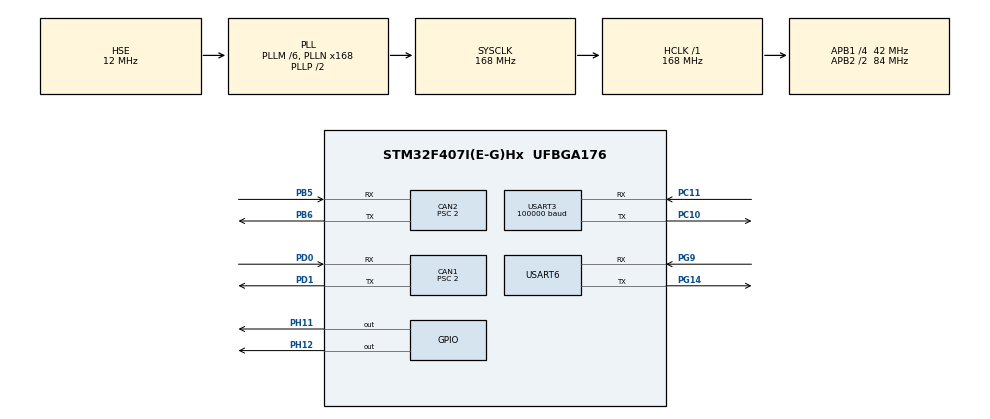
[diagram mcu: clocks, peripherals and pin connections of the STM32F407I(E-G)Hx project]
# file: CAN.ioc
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CAN1.BS1=CAN_BS1_16TQ
CAN1.BS2=CAN_BS2_4TQ
CAN1.CalculateBaudRate=1000000
CAN1.CalculateTimeBit=1000
CAN1.CalculateTimeQuantum=47.61904761904762
CAN1.NART=ENABLE
CAN1.Prescaler=2
CAN1.TXFP=ENABLE
CAN2.BS1=CAN_BS1_16TQ
CAN2.BS2=CAN_BS2_4TQ
CAN2.CalculateBaudRate=1000000
CAN2.CalculateTimeBit=1000
CAN2.CalculateTimeQuantum=47.61904761904762
CAN2.Prescaler=2
Dma.Request0=USART3_RX
Dma.Request1=USART6_RX
Dma.Request2=USART6_TX
Dma.USART3_RX.0.Direction=DMA_PERIPH_TO_MEMORY
Dma.USART3_RX.0.FIFOMode=DMA_FIFOMODE_DISABLE
Dma.USART3_RX.0.Instance=DMA1_Stream1
Dma.USART3_RX.0.MemDataAlignment=DMA_MDATAALIGN_BYTE
Dma.USART3_RX.0.MemInc=DMA_MINC_ENABLE
Dma.USART3_RX.0.Mode=DMA_CIRCULAR
Dma.USART3_RX.0.PeriphDataAlignment=DMA_PDATAALIGN_BYTE
Dma.USART3_RX.0.PeriphInc=DMA_PINC_DISABLE
Dma.USART3_RX.0.Priority=DMA_PRIORITY_VERY_HIGH
Dma.USART6_RX.1.Direction=DMA_PERIPH_TO_MEMORY
Dma.USART6_RX.1.FIFOMode=DMA_FIFOMODE_DISABLE
Dma.USART6_RX.1.Instance=DMA2_Stream1
Dma.USART6_RX.1.MemDataAlignment=DMA_MDATAALIGN_BYTE
Dma.USART6_RX.1.MemInc=DMA_MINC_ENABLE
Dma.USART6_RX.1.Mode=DMA_NORMAL
Dma.USART6_RX.1.PeriphDataAlignment=DMA_PDATAALIGN_BYTE
Dma.USART6_RX.1.PeriphInc=DMA_PINC_DISABLE
Dma.USART6_RX.1.Priority=DMA_PRIORITY_LOW
Dma.USART6_TX.2.Direction=DMA_MEMORY_TO_PERIPH
Dma.USART6_TX.2.FIFOMode=DMA_FIFOMODE_DISABLE
Dma.USART6_TX.2.Instance=DMA2_Stream6
Dma.USART6_TX.2.MemDataAlignment=DMA_MDATAALIGN_BYTE
Dma.USART6_TX.2.MemInc=DMA_MINC_ENABLE
Dma.USART6_TX.2.Mode=DMA_NORMAL
Dma.USART6_TX.2.PeriphDataAlignment=DMA_PDATAALIGN_BYTE
Dma.USART6_TX.2.PeriphInc=DMA_PINC_DISABLE
Dma.USART6_TX.2.Priority=DMA_PRIORITY_LOW
Mcu.Family=STM32F4
Mcu.Name=STM32F407I(E-G)Hx
Mcu.Package=UFBGA176
NVIC.CAN1_RX0_IRQn=true\:0\:0\:false\:false\:true\:true\:true\:true
NVIC.CAN2_RX0_IRQn=true\:0\:0\:false\:false\:true\:true\:true\:true
NVIC.DMA1_Stream1_IRQn=true\:0\:0\:false\:false\:true\:false\:true\:true
NVIC.DMA2_Stream1_IRQn=true\:0\:0\:false\:false\:true\:false\:true\:true
NVIC.DMA2_Stream6_IRQn=true\:0\:0\:false\:false\:true\:false\:true\:true
NVIC.PriorityGroup=NVIC_PRIORITYGROUP_4
NVIC.USART3_IRQn=true\:0\:0\:false\:false\:true\:true\:true\:true
PA13.Mode=Serial_Wire
PA13.Signal=SYS_JTMS-SWDIO
PA14.Mode=Serial_Wire
PA14.Signal=SYS_JTCK-SWCLK
PB5.Mode=CAN_Activate
PB5.Signal=CAN2_RX
PB6.Mode=CAN_Activate
PB6.Signal=CAN2_TX
PC10.Mode=Asynchronous
PC10.Signal=USART3_TX
PC11.Mode=Asynchronous
PC11.Signal=USART3_RX
PD0.Mode=CAN_Activate
PD0.Signal=CAN1_RX
PD1.Mode=CAN_Activate
PD1.Signal=CAN1_TX
PG14.Mode=Asynchronous
PG14.Signal=USART6_TX
PG9.Mode=Asynchronous
PG9.Signal=USART6_RX
PH0-OSC_IN.Mode=HSE-External-Oscillator
PH0-OSC_IN.Signal=RCC_OSC_IN
PH1-OSC_OUT.Mode=HSE-External-Oscillator
PH1-OSC_OUT.Signal=RCC_OSC_OUT
PH11.GPIO_ModeDefaultOutputPP=GPIO_MODE_OUTPUT_PP
PH11.GPIO_PuPd=GPIO_NOPULL
PH11.GPIO_Speed=GPIO_SPEED_FREQ_LOW
PH11.PinState=GPIO_PIN_RESET
PH11.Signal=GPIO_Output
PH12.GPIO_ModeDefaultOutputPP=GPIO_MODE_OUTPUT_PP
PH12.GPIO_PuPd=GPIO_NOPULL
PH12.GPIO_Speed=GPIO_SPEED_FREQ_LOW
PH12.PinState=GPIO_PIN_RESET
PH12.Signal=GPIO_Output
ProjectManager.HeapSize=0x200
ProjectManager.StackSize=0x400
ProjectManager.TargetToolchain=MDK-ARM V5.32
RCC.48MHZClocksFreq_Value=84000000
RCC.AHBFreq_Value=168000000
RCC.APB1CLKDivider=RCC_HCLK_DIV4
RCC.APB1Freq_Value=42000000
RCC.APB1TimFreq_Value=84000000
RCC.APB2CLKDivider=RCC_HCLK_DIV2
RCC.APB2Freq_Value=84000000
RCC.APB2TimFreq_Value=168000000
RCC.CortexFreq_Value=168000000
RCC.HCLKFreq_Value=168000000
RCC.HSE_VALUE=12000000
RCC.HSI_VALUE=16000000
RCC.LSE_VALUE=32768
RCC.PLLM=6
RCC.PLLN=168
RCC.PLLSourceVirtual=RCC_PLLSOURCE_HSE
RCC.SYSCLKFreq_VALUE=168000000
RCC.SYSCLKSource=RCC_SYSCLKSOURCE_PLLCLK
RCC.VCOOutputFreq_Value=336000000
USART3.BaudRate=100000
USART3.Parity=PARITY_EVEN
USART3.VirtualMode=VM_ASYNC
USART6.VirtualMode=VM_ASYNC
board=custom

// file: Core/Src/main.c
/* USER CODE BEGIN Header */
/**
  ******************************************************************************
  * @file           : main.c
  * @brief          : Main program body
  ******************************************************************************
  * @attention
  *
  * Copyright (c) 2026 STMicroelectronics.
  * All rights reserved.
  *
  * This software is licensed under terms that can be found in the LICENSE file
  * in the root directory of this software component.
  * If no LICENSE file comes with this software, it is provided AS-IS.
  *
  ******************************************************************************
  */
/* USER CODE END Header */
#include "main.h"
#include "can.h"
#include "dma.h"
#include "usart.h"
#include "gpio.h"

/* USER CODE BEGIN Includes */
#include "bsp_can.h"
#include "CAN_receive.h"
#include "remote_control.h"
#include "bsp_rc.h"
/* 转速环 PID（官方文件，未改动） */
#include "pid.h"
/* sinf()，正弦波流用 */
#include <math.h>
/* USER CODE END Includes */

/* USER CODE BEGIN PD */
/* 摇杆减掉 1024 后的行程，约 ±660 */
#define RC_CH_VALUE_RANGE       660
/* 回中零点漂移，此范围内一律当 0 */
#define RC_DEAD_ZONE            20
/* 开环电流上限（仅 USE_SPEED_PID=0 时使用）。
   16384 对应 C620 满量程 20A，1000 约 1.2A。 */
#define CHASSIS_CURRENT_MAX     1000
/* 底盘四个轮子：下标 0~3 对应 C620 ID1~4 / 反馈帧 0x201~0x204。
   M1=左上FL，M2=左下RL，M3=右上FR，M4=右下RR（麦轮全向底盘）。 */
#define MOTOR_NUM               4
/* 驱动用的三个遥控通道（按本机实测的 DBUS 通道号）：
   左摇杆上下 = 前进/后退（推上为正）
   左摇杆左右 = 左移/右移（推左为正）
   右摇杆左右 = 原地旋转（推右为顺时针）
   注：本机实测 ch2 是左右、ch3 是上下，与常见的 ch2=上下 相反。 */
#define RC_MOTOR_CH_VERT        3
#define RC_MOTOR_CH_HORZ        2
#define RC_MOTOR_CH_ROT         0
/* 板载指示灯 PH11：上电后亮 RUN_LED_ON_MS，然后灭（程序已启动的标志）。
   gpio.c 已配成推挽输出。 */
#define RUN_LED_PORT            GPIOH
#define RUN_LED_PIN             GPIO_PIN_11
#define RUN_LED_ON_MS           8000
/* 遥控静默超时。DBUS 约 14ms 一帧，100ms 约漏 7 帧 */
#define RC_SIGNAL_TIMEOUT_MS    100
/* 单路电机反馈超时。C620 反馈约 1kHz，100ms 很宽松。
   与遥控超时分开：两个独立故障域，调整一个不应影响另一个。 */
#define MOTOR_FEEDBACK_TIMEOUT_MS 100
/* UART6 调试输出（PG14=TX, PG9=RX, 115200 8N1）。发送字符：
     '1' 正弦波流        '2' 停
     '3' 左摇杆流        '4' 停
     '5' 转速环曲线流，8 列：M1~M4 目标转速、M1~M4 实测转速（rpm）
   ASCII 十进制、逗号分列（SerialPlot 格式），同一时刻只跑一条流。 */
#define UART6_STREAM_OFF        0
#define UART6_STREAM_SINE       1
#define UART6_STREAM_STICK      2
#define UART6_STREAM_PID        3

/* --- 正弦波流 ('1') --- */
#define SINE_PERIOD_MS          400      /* 一个周期 400ms = 2.5Hz */
#define SINE_AMPLITUDE          2047     /* 相对中点的最大偏移 */
#define SINE_MID                2048     /* 中点（0~4095 的中心） */
#define SINE_PI                 3.14159265f

/* --- 摇杆流 ('3') --- */
/* 输出左摇杆两个轴，通道号与上面的驱动映射保持一致
   （本机：3=上下，2=左右；右摇杆是 1/0） */
#define RC_STICK_CH_VERT        3
#define RC_STICK_CH_HORZ        2
/* 满行程对应的千分比读数。上下用满幅，左右用半幅让两条曲线视觉等高。
   这是连续量，不能用 uart6_send_int()（会被压成 -1/0/+1）。 */
#define RC_STICK_VERT_MILLI     1000
#define RC_STICK_HORZ_MILLI     500

/* --- 转速环 PID ---
   摇杆 -> 三自由度 -> 麦轮逆运动学 -> 每轮目标转速 -> 四路 PID -> 电流。
   控制环跑在 SysTick 的 1kHz 中断里（motor_control_1khz）。 */

/* 回退开关：置 0 退回开环（摇杆直接给电流），仍走同一套麦轮运动学 */
#define USE_SPEED_PID           1

/* 摇杆推到底的目标转速(rpm)。C620 反馈的是转子转速，3508 空载约 9000，
   取 3000 留余量。首次上电建议先改成 1000。 */
#define SPEED_TARGET_MAX_RPM    3000

/* --- 麦轮全向运动 ---
   前后、左右、斜向都由逆运动学合成到四轮目标转速。 */
/* 置 0 关闭旋转，只剩平移 */
#define CHASSIS_ROTATE_ENABLE   1
/* 旋转满杆的差速幅值(rpm)，取线速度的一半 */
#define SPEED_ROTATE_MAX_RPM    (SPEED_TARGET_MAX_RPM / 2)
/* 滚子朝向。标准 X 形填 1；实测横移/旋转反向就把对应项改成 -1。
   前后方向不受这两个宏影响，滚子装法只能实测确认。 */
#define MECANUM_STRAFE_SIGN     1
#define MECANUM_ROTATE_SIGN     1

/* PID 参数，参考学长的整定值（Kp=3.5 / Ki=0.01 / Kd=0）。
   注意 pid.c 的积分是 Iout += Ki*error，没有 dt，Ki 与 1kHz 调用周期绑定，
   换到别的调用频率这组数要重新算。 */
#define SPEED_PID_KP            3.5f
#define SPEED_PID_KI            0.01f
#define SPEED_PID_KD            0.0f

/* C620 电调保护：最终输出电流硬限幅 16A。
   C620 官方只标「最大持续电流 20A」，没有单独的峰值指标，16A 留 20% 余量。
   CAN 电流指令 ±16384 线性对应 ±20A，16A = 16384 × 16 / 20 = 13107。
   这一层保护的是电调：不管 PID 或开环算出多少，越不过去。 */
#define C620_CURRENT_MAX_16A    13107

/* M3508 电机保护：PID 输出上限，真正决定电机电流的是这里。
   M3508 P19 额定电流 10A（16384 = 20A → 10A = 8192），额定扭矩 3N·m。
   室内调车取 3000 ≈ 3.7A，约额定的 37%，四轮合计约 14.6A；
   推十公斤级的麦轮车够用，电机和电调都不会烫。
   要提速按 3000 → 6000(≈7.3A) → 8192(10A，额定上限) 往上加。 */
#define SPEED_PID_MAX_OUT_CNT   3000
#define SPEED_PID_MAX_OUT       ((fp32)SPEED_PID_MAX_OUT_CNT)

/* 积分项上限与输出上限同值，积分不能单独堆到超过输出。
   真正的抗饱和仍在 motor_control_1khz()：目标为 0 时 PID_clear()。 */
#define SPEED_PID_MAX_IOUT      ((fp32)SPEED_PID_MAX_OUT_CNT)

/* 编译期兜底：输出上限一旦超过 M3508 额定 10A 直接编译报错，
   防止以后改参数时手滑把电机烧了。 */
#if (SPEED_PID_MAX_OUT_CNT > 8192)
#error "SPEED_PID_MAX_OUT exceeds M3508 rated current (10A = 8192 counts)"
#endif

/* 每轮方向符号见 motor_dir_sign[]。闭环里必须把「反馈」和「目标」一起翻，
   只翻输出会把负反馈变成正反馈，电机发散。 */
/* USER CODE END PD */

/* USER CODE BEGIN PV */
/* 遥控链路看门狗。rc_frame_count 由 DBUS 中断自增，其余在 1kHz 中断里更新 */
static uint32_t rc_last_frame_count = 0;
static uint32_t rc_last_frame_tick  = 0;
static volatile uint8_t rc_online   = 0;

/* 转速环实例，一轮一个。麦轮运动时四轮目标转速本来就不同，共享单环做不到 */
static pid_type_def speed_pid[MOTOR_NUM];

/* 每轮方向符号，下标对应 M1~M4。1 = 正电流使该轮朝车头转，-1 = 相反。
   {1,1,-1,-1} 只是左右镜像安装的常见起点，必须实测核对。 */
static const int8_t motor_dir_sign[MOTOR_NUM] = {1, 1, -1, -1};

/* 控制环总开关。初始化完成前为 0；bus-off 恢复期间也会临时清 0 */
volatile uint8_t control_enabled = 0;

/* 观测变量，供 '5' 流和 Watch 使用。均单次 16 位读写，对中断原子。
   target/actual 以「朝车头方向滚」为正；current 乘回了方向符号，坐标系不同 */
volatile int16_t motor_target_rpm[MOTOR_NUM];
volatile int16_t motor_actual_rpm[MOTOR_NUM];
volatile int16_t motor_current_cmd[MOTOR_NUM];

/* 上电时间戳，用于 PH11 点亮窗口 */
static uint32_t boot_tick = 0;

/* 当前 UART6 流，取值 UART6_STREAM_*，只在主循环里改 */
static uint8_t uart6_stream = UART6_STREAM_OFF;
/* USER CODE END PV */

void SystemClock_Config(void);

/* USER CODE BEGIN 0 */
/**
  * @brief  把 1~8 个整数作为一行、逗号分隔发出
  * @param  values: 每个夹到 ±99999
  * @param  count: 1~8
  * @note   手写格式化，不用 printf（USART3 已被 DBUS 占用）。
  *         从 '\n' 往前倒拼；最坏 8×"-99999"+7×','+'\n' = 56 字符，缓冲 64 字节。
  */
static void uart6_send_int(const int32_t *values, uint8_t count)
{
  char     text[64];
  char    *p;
  uint32_t magnitude;
  int32_t  value;
  uint8_t  i;

  /* 缓冲区按 8 列设计，多传也按 8 列发，不能写穿栈 */
  if (count > 8u)
  {
    count = 8u;
  }

  p = &text[sizeof(text) - 1];
  *p = '\n';

  for (i = count; i > 0u; i--)
  {
    value = values[i - 1u];

    if (value < -99999)
    {
      value = -99999;
    }
    else if (value > 99999)
    {
      value = 99999;
    }

    /* 取绝对值走 64 位，避免 INT32_MIN 溢出 */
    magnitude = (value < 0) ? (uint32_t)(-(int64_t)value) : (uint32_t)value;

    /* 数字是倒着出来的，从缓冲区尾部往前写 */
    do
    {
      *--p = (char)('0' + (magnitude % 10u));
      magnitude /= 10u;
    }
    while (magnitude > 0u);

    if (value < 0)
    {
      *--p = '-';
    }

    if (i > 1u)
    {
      *--p = ',';
    }
  }

  /* (尾指针 - 拼写指针) 即行长，不含 '\n' */
  HAL_UART_Transmit(&huart6, (uint8_t *)p,
                    (uint16_t)(&text[sizeof(text) - 1] - p) + 1u, 10u);
}

/**
  * @brief  把 1~2 个定点小数作为一行、逗号分隔发出
  * @param  values: 每个都乘过 1000，夹到 ±9999
  * @param  count: 1 或 2
  * @note   摇杆是连续量，整数输出会被压成 -1/0/+1。
  *         最坏 2×"-9.999"+','+'\n' = 14 字符。
  */
static void uart6_send_milli(const int32_t *values, uint8_t count)
{
  char     text[24];
  char    *p;
  uint32_t magnitude;
  int32_t  value;
  uint8_t  i;
  uint8_t  digit;

  p = &text[sizeof(text) - 1];
  *p = '\n';

  for (i = count; i > 0u; i--)
  {
    value = values[i - 1u];

    if (value < -9999)
    {
      value = -9999;
    }
    else if (value > 9999)
    {
      value = 9999;
    }

    /* 取绝对值走 64 位，避免 INT32_MIN 溢出 */
    magnitude = (value < 0) ? (uint32_t)(-(int64_t)value) : (uint32_t)value;

    /* 先出三位小数（最低有效位先出） */
    for (digit = 0u; digit < 3u; digit++)
    {
      *--p = (char)('0' + (magnitude % 10u));
      magnitude /= 10u;
    }

    *--p = '.';

    /* 再拼整数部分。do-while 保证小于 1.000 时也先打一个 0 */
    do
    {
      *--p = (char)('0' + (magnitude % 10u));
      magnitude /= 10u;
    }
    while (magnitude > 0u);

    if (value < 0)
    {
      *--p = '-';
    }

    if (i > 1u)
    {
      *--p = ',';
    }
  }

  /* (尾指针 - 拼写指针) 即行长，不含 '\n' */
  HAL_UART_Transmit(&huart6, (uint8_t *)p,
                    (uint16_t)(&text[sizeof(text) - 1] - p) + 1u, 10u);
}

/**
  * @brief  把 DT7 摇杆通道归一化到对称区间
  * @param  ch: rc.ch[] 值（已减 1024），约 ±660，回中为 0
  * @param  full_milli: 满行程读数，单位千分之一（1000 即 ±1.000）
  * @retval -full_milli ~ +full_milli；死区内恒为 0
  * @note   死区避免松杆时曲线在中线附近抖动。
  */
static int32_t rc_stick_normalize(int16_t ch, int32_t full_milli)
{
  int32_t milli;

  if ((ch > -RC_DEAD_ZONE) && (ch < RC_DEAD_ZONE))
  {
    return 0;
  }

  milli = ((int32_t)ch * full_milli) / RC_CH_VALUE_RANGE;

  /* 摇杆实际能推过标称满量程一点点 */
  if (milli > full_milli)
  {
    milli = full_milli;
  }
  else if (milli < -full_milli)
  {
    milli = -full_milli;
  }

  return milli;
}

/**
  * @brief  转速环控制，跑在 SysTick 的 1kHz 中断里
  * @note   放中断里是因为 pid.c 的积分没有 dt，Ki 与调用周期绑定；主循环周期
  *         会抖到 2~4ms。SysTick 正好 1ms，无需额外定时器。
  *         优先级 15（最低），CAN 接收中断(0) 会抢占；两者访问的寄存器不重叠，
  *         读 speed_rpm 是单条 LDRH，安全。
  *         由 SysTick_Handler 在 HAL_IncTick() 之后调用。
  */
void motor_control_1khz(void)
{
  const RC_ctrl_t *rc = get_remote_control_point();
  uint32_t frame_count;
  uint32_t now;
  uint8_t  i;
  uint8_t  valid_num;
  int16_t  current[MOTOR_NUM];
  uint8_t  rx_ok[MOTOR_NUM];
  int32_t  target[MOTOR_NUM];
  int32_t  vx = 0;
  int32_t  vy = 0;
  int32_t  rot = 0;
  int32_t  max_abs = 0;
#if USE_SPEED_PID
  const int32_t limit = SPEED_TARGET_MAX_RPM;   /* 目标转速上限 */
#else
  const int32_t limit = CHASSIS_CURRENT_MAX;    /* 开环时 target[] 存的是电流 */
#endif

  /* 初始化完成前挡住整个控制环 */
  if (!control_enabled)
  {
    return;
  }

  now = HAL_GetTick();
  frame_count = rc_frame_count;

  /* 遥控看门狗：rc_ctrl 会保留上一帧的值，只能看帧计数判断链路是否活着 */
  if (frame_count != rc_last_frame_count)
  {
    rc_last_frame_count = frame_count;
    rc_last_frame_tick  = now;
    rc_online = 1;
  }
  else if ((now - rc_last_frame_tick) >= RC_SIGNAL_TIMEOUT_MS)
  {
    rc_online = 0;
  }

  /* 逐轮取反馈。speed_rpm 是转子转速，单条 16 位读对中断原子。
     超过 MOTOR_FEEDBACK_TIMEOUT_MS 没收到反馈的轮子命令置 0，
     否则初值 0 会让该路积分一直外推。 */
  valid_num = 0;
  for (i = 0u; i < MOTOR_NUM; i++)
  {
    rx_ok[i] = chassis_motor_is_online(i, now, MOTOR_FEEDBACK_TIMEOUT_MS);

    if (rx_ok[i])
    {
      /* 乘方向符号，统一成「朝车头方向滚为正」 */
      motor_actual_rpm[i] = (int16_t)((int32_t)motor_dir_sign[i]
                                    * (int32_t)get_chassis_motor_measure_point(i)->speed_rpm);
      valid_num++;
    }
    else
    {
      motor_actual_rpm[i] = 0;
    }
  }

  /* 摇杆 -> 三个自由度；遥控掉线或四轮全无反馈时全部归零 */
  if (rc_online && (valid_num > 0u))
  {
#if USE_SPEED_PID
    vx = rc_stick_normalize(rc->rc.ch[RC_MOTOR_CH_VERT], SPEED_TARGET_MAX_RPM);
    vy = rc_stick_normalize(rc->rc.ch[RC_MOTOR_CH_HORZ], SPEED_TARGET_MAX_RPM);
#if CHASSIS_ROTATE_ENABLE
    rot = rc_stick_normalize(rc->rc.ch[RC_MOTOR_CH_ROT], SPEED_ROTATE_MAX_RPM);
#endif
#else
    vx = rc_stick_normalize(rc->rc.ch[RC_MOTOR_CH_VERT], CHASSIS_CURRENT_MAX);
    vy = rc_stick_normalize(rc->rc.ch[RC_MOTOR_CH_HORZ], CHASSIS_CURRENT_MAX);
#endif
  }

  /* 横移/旋转符号跟随滚子朝向，前后不受影响 */
  vy  *= MECANUM_STRAFE_SIGN;
  rot *= MECANUM_ROTATE_SIGN;

  /* 麦轮逆运动学。vy 向左为正，rot 逆时针为正（俯视）。 */
  target[0] = vx - vy - rot;
  target[1] = vx + vy - rot;
  target[2] = vx + vy + rot;
  target[3] = vx - vy + rot;

  /* 等比例压回 limit：单轮限幅会把合成运动方向扭歪 */
  for (i = 0u; i < MOTOR_NUM; i++)
  {
    int32_t magnitude = (target[i] < 0) ? -target[i] : target[i];

    if (magnitude > max_abs)
    {
      max_abs = magnitude;
    }
  }

  if (max_abs > limit)
  {
    for (i = 0u; i < MOTOR_NUM; i++)
    {
      target[i] = target[i] * limit / max_abs;
    }
  }

  for (i = 0u; i < MOTOR_NUM; i++)
  {
    motor_target_rpm[i] = (int16_t)target[i];
  }

#if USE_SPEED_PID
  for (i = 0u; i < MOTOR_NUM; i++)
  {
    /* 掉线轮给 0，同时清积分，避免重新接上时猛冲 */
    if (!rx_ok[i])
    {
      current[i] = 0;
      PID_clear(&speed_pid[i]);
      continue;
    }

    /* 目标为 0 时清积分：只保留 P 项，刹车照样有力但不会甩尾 */
    if (target[i] == 0)
    {
      PID_clear(&speed_pid[i]);
    }

    /* 反馈和目标都在「朝车头滚为正」的坐标系里，PID 算出的电流再乘回
       方向符号。实参顺序 (pid, 反馈, 目标)：pid.c 算的是 set - ref。 */
    {
      fp32 out = PID_calc(&speed_pid[i], (fp32)motor_actual_rpm[i], (fp32)target[i]);

      current[i] = (int16_t)((int32_t)motor_dir_sign[i] * (int32_t)out);
    }
  }
#else
  /* 开环回退：摇杆直接映射电流，四轮仍走同一套运动学 */
  for (i = 0u; i < MOTOR_NUM; i++)
  {
    PID_clear(&speed_pid[i]);

    /* 开环没有反馈，方向符号只能乘在输出上 */
    current[i] = rx_ok[i]
               ? (int16_t)((int32_t)motor_dir_sign[i] * target[i])
               : 0;
  }
#endif

  for (i = 0u; i < MOTOR_NUM; i++)
  {
    /* C620 保护：不管上面算出多少，最终电流硬限幅在 ±16A */
    if (current[i] > C620_CURRENT_MAX_16A)
    {
      current[i] = C620_CURRENT_MAX_16A;
    }
    else if (current[i] < -C620_CURRENT_MAX_16A)
    {
      current[i] = -C620_CURRENT_MAX_16A;
    }

    motor_current_cmd[i] = current[i];
  }

  /* 四个 C620 的电流在同一帧 0x200 发出，data[0:1]~[6:7] 对应 ID1~ID4 */
  CAN_cmd_chassis(current[0], current[1], current[2], current[3]);
}

/**
  * @brief  UART6 调试流
  * @param  now: 当前 HAL_GetTick()
  * @param  rc: 最新遥控帧
  * @param  rc_online: 1 表示遥控链路正常
  * @note   '1' 正弦波，'3' 摇杆，'5' 转速环曲线，'2'/'4' 停。
  */
static void uart6_task(uint32_t now, const RC_ctrl_t *rc, uint8_t rc_online)
{
  uint8_t cmd;
  int32_t value;
  /* '5' 流一次发 8 列：M1~M4 目标、M1~M4 实测 */
  int32_t columns[8];

  /* 非阻塞取命令字节：查 RXNE 再读 DR，PC 不说话时循环不会卡 */
  if (__HAL_UART_GET_FLAG(&huart6, UART_FLAG_RXNE) != RESET)
  {
    cmd = (uint8_t)(huart6.Instance->DR & 0xFFu);

    if (cmd == '1')
    {
      uart6_stream = UART6_STREAM_SINE;
    }
    else if (cmd == '3')
    {
      uart6_stream = UART6_STREAM_STICK;
    }
    else if (cmd == '5')
    {
      uart6_stream = UART6_STREAM_PID;
    }
    else if (cmd == '2' || cmd == '4')
    {
      uart6_stream = UART6_STREAM_OFF;
    }
  }

  if (uart6_stream == UART6_STREAM_SINE)
  {
    /* 相位取自毫秒时钟而非采样计数，周期不随循环抖动 */
    value = SINE_MID + (int32_t)(sinf(2.0f * SINE_PI
                                      * (float)(now % SINE_PERIOD_MS)
                                      / (float)SINE_PERIOD_MS)
                                  * (float)SINE_AMPLITUDE);
    columns[0] = value;
    uart6_send_int(columns, 1u);
  }
  else if (uart6_stream == UART6_STREAM_STICK)
  {
    if (rc_online)
    {
      /* 第 1 列 = 左摇杆上下，第 2 列 = 左摇杆左右 */
      columns[0] = rc_stick_normalize(rc->rc.ch[RC_STICK_CH_VERT],
                                      RC_STICK_VERT_MILLI);
      columns[1] = rc_stick_normalize(rc->rc.ch[RC_STICK_CH_HORZ],
                                      RC_STICK_HORZ_MILLI);
    }
    else
    {
      /* 链路断开时 rc->rc.ch[] 仍是旧值，报中位而不是过期的偏量 */
      columns[0] = 0;
      columns[1] = 0;
    }

    uart6_send_milli(columns, 2u);
  }
  else if (uart6_stream == UART6_STREAM_PID)
  {
    /* 第 1~4 列 = M1~M4 目标转速，第 5~8 列 = M1~M4 实测转速，单位 rpm，
       均以「朝车头滚」为正。目标/实测一对可整定每路 PID，也能看出掉线
       （恒 0）或方向符号反了（一正一负）。 */
    columns[0] = motor_target_rpm[0];
    columns[1] = motor_target_rpm[1];
    columns[2] = motor_target_rpm[2];
    columns[3] = motor_target_rpm[3];
    columns[4] = motor_actual_rpm[0];
    columns[5] = motor_actual_rpm[1];
    columns[6] = motor_actual_rpm[2];
    columns[7] = motor_actual_rpm[3];
    uart6_send_int(columns, 8u);
  }
}
/* USER CODE END 0 */

int main(void)
{

  /* MCU Configuration--------------------------------------------------------*/

  /* Reset of all peripherals, Initializes the Flash interface and the Systick. */
  HAL_Init();

  /* Configure the system clock */
  SystemClock_Config();

  /* Initialize all configured peripherals */
  MX_GPIO_Init();
  MX_DMA_Init();
  MX_CAN1_Init();
  MX_CAN2_Init();
  MX_USART3_UART_Init();
  MX_USART6_UART_Init();
  /* USER CODE BEGIN 2 */
  can_filter_init();
  /* 配置 USART3 接收 DMA 和空闲中断，不调用则遥控数据不会更新 */
  remote_control_init();

  /* PH11 点亮，RUN_LED_ON_MS 后灭 */
  boot_tick = HAL_GetTick();
  HAL_GPIO_WritePin(RUN_LED_PORT, RUN_LED_PIN, GPIO_PIN_SET);

  /* 转速环初始化：CAN 和遥控都配好后才能放开控制环 */
  {
    const fp32 speed_pid_para[3] = {SPEED_PID_KP, SPEED_PID_KI, SPEED_PID_KD};
    uint8_t i;

    /* 四路参数相同；需要单独补偿某一路时按 i 分开填 */
    for (i = 0u; i < MOTOR_NUM; i++)
    {
      PID_init(&speed_pid[i], PID_POSITION, speed_pid_para,
               SPEED_PID_MAX_OUT, SPEED_PID_MAX_IOUT);
    }
  }

  control_enabled = 1;
  /* USER CODE END 2 */

  /* Infinite loop */
  while (1)
  {

    /* USER CODE BEGIN 3 */
    const RC_ctrl_t *rc = get_remote_control_point();
    uint32_t now = HAL_GetTick();

    /* PH11：上电后亮 RUN_LED_ON_MS，之后灭 */
    HAL_GPIO_WritePin(RUN_LED_PORT, RUN_LED_PIN,
                      ((now - boot_tick) < RUN_LED_ON_MS) ? GPIO_PIN_SET : GPIO_PIN_RESET);

    /* --- CAN1 bus-off 自动恢复 ---
       can.c 里 AutoBusOff=DISABLE、AutoRetransmission=ENABLE。电调不在总线上时
       0x200 无人 ACK，TEC 超限进入 bus-off 且不会自愈，只能重新上电。
       这里检测到 BOFF 就重新初始化，让 CAN1 自己恢复。
       放在主循环而非中断：HAL_CAN_Init() 会复位整个外设，而 CAN1_RX0 中断
       优先级更高、可能正在访问它。 */
    if ((CHASSIS_CAN.Instance->ESR & CAN_ESR_BOFF) != 0u)
    {
      control_enabled = 0;              /* 挡住中断里的 CAN 发送 */
      HAL_CAN_Init(&CHASSIS_CAN);
      can_filter_init();
      control_enabled = 1;
    }

    /* 让云台电机保持不动；没有云台就删掉这行 */
    CAN_cmd_gimbal(0, 0, 0, 0);

    /* 电机命令在 motor_control_1khz() 里发（周期更稳）。
       UART6 放最后，慢串口不拖慢别的东西。 */
    uart6_task(now, rc, rc_online);

    HAL_Delay(2);

    /* Watch 窗口可加：rc_ctrl.rc.ch、motor_target_rpm[0..3]、
       motor_actual_rpm[0..3]、motor_current_cmd[0..3] */
  }
  /* USER CODE END 3 */
}

void SystemClock_Config(void)
{
  RCC_OscInitTypeDef RCC_OscInitStruct = {0};
  RCC_ClkInitTypeDef RCC_ClkInitStruct = {0};

  /** Configure the main internal regulator output voltage
  */
  __HAL_RCC_PWR_CLK_ENABLE();
  __HAL_PWR_VOLTAGESCALING_CONFIG(PWR_REGULATOR_VOLTAGE_SCALE1);

  /** Initializes the RCC Oscillators according to the specified parameters
  * in the RCC_OscInitTypeDef structure.
  */
  RCC_OscInitStruct.OscillatorType = RCC_OSCILLATORTYPE_HSE;
  RCC_OscInitStruct.HSEState = RCC_HSE_ON;
  RCC_OscInitStruct.PLL.PLLState = RCC_PLL_ON;
  RCC_OscInitStruct.PLL.PLLSource = RCC_PLLSOURCE_HSE;
  RCC_OscInitStruct.PLL.PLLM = 6;
  RCC_OscInitStruct.PLL.PLLN = 168;
  RCC_OscInitStruct.PLL.PLLP = RCC_PLLP_DIV2;
  RCC_OscInitStruct.PLL.PLLQ = 4;
  if (HAL_RCC_OscConfig(&RCC_OscInitStruct) != HAL_OK)
  {
    Error_Handler();
  }

  /** Initializes the CPU, AHB and APB buses clocks
  */
  RCC_ClkInitStruct.ClockType = RCC_CLOCKTYPE_HCLK|RCC_CLOCKTYPE_SYSCLK
                              |RCC_CLOCKTYPE_PCLK1|RCC_CLOCKTYPE_PCLK2;
  RCC_ClkInitStruct.SYSCLKSource = RCC_SYSCLKSOURCE_PLLCLK;
  RCC_ClkInitStruct.AHBCLKDivider = RCC_SYSCLK_DIV1;
  RCC_ClkInitStruct.APB1CLKDivider = RCC_HCLK_DIV4;
  RCC_ClkInitStruct.APB2CLKDivider = RCC_HCLK_DIV2;

  if (HAL_RCC_ClockConfig(&RCC_ClkInitStruct, FLASH_LATENCY_5) != HAL_OK)
  {
    Error_Handler();
  }
}

void Error_Handler(void)
{
  __disable_irq();
  while (1)
  {
  }
}
